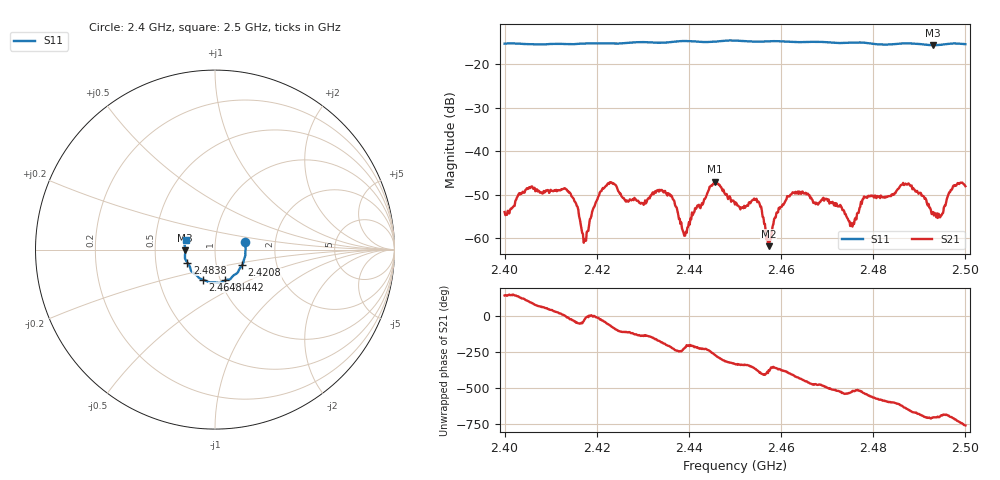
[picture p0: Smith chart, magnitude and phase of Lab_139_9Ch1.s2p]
# Hz S RI R 50
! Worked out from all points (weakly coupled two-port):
!   601 points, 2.4 GHz to 2.5 GHz, reference 50 ohm
!   highest |S21| = -47.05 dB at 2.4457 GHz (marker M1); lowest = -61.9 dB at 2.4573 GHz (marker M2)
!   lowest |S11| = -15.6 dB at 2.493 GHz (marker M3), VSWR 1.40, Z = 35.8 - j0.208 ohm
!   |S11| at or under -10 dB: start of sweep to end of sweep
!   S12 and S22 are empty: the file has one direction only
!   S11 on the Smith chart (normalised r, x): 2.4 GHz: 1.40, +0.12; 2.4208 GHz: 1.33, -0.24; 2.4442 GHz: 1.05, -0.37; 2.4648 GHz: 0.83, -0.29; 2.4838 GHz: 0.73, -0.11; 2.5 GHz: 0.72, +0.08
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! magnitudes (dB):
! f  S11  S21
! 2.4 GHz  -15.3  -54.0
! 2.413 GHz  -15.3  -48.5
! 2.4167 GHz  -15.2  -57.8
! 2.4177 GHz  -15.2  -60.6
! 2.4208 GHz  -15.2  -49.3
! 2.4333 GHz  -15.0  -48.9
! 2.439 GHz  -14.6  -59.5
! 2.4442 GHz  -14.9  -49.3
! 2.4457 GHz  -14.8  -47.0
! 2.45 GHz  -14.5  -52.3
! 2.4548 GHz  -14.8  -51.7
! 2.4573 GHz  -14.7  -61.9
! 2.4612 GHz  -14.8  -51.1
! 2.4648 GHz  -14.9  -49.7
! 2.4667 GHz  -14.8  -51.0
! 2.4753 GHz  -15.0  -57.2
! 2.4782 GHz  -15.0  -50.6
! 2.4833 GHz  -15.5  -50.3
! 2.4838 GHz  -15.4  -50.4
! 2.4878 GHz  -15.2  -47.7
! 2.493 GHz  -15.6  -54.0
! 2.5 GHz  -15.4  -48.1
